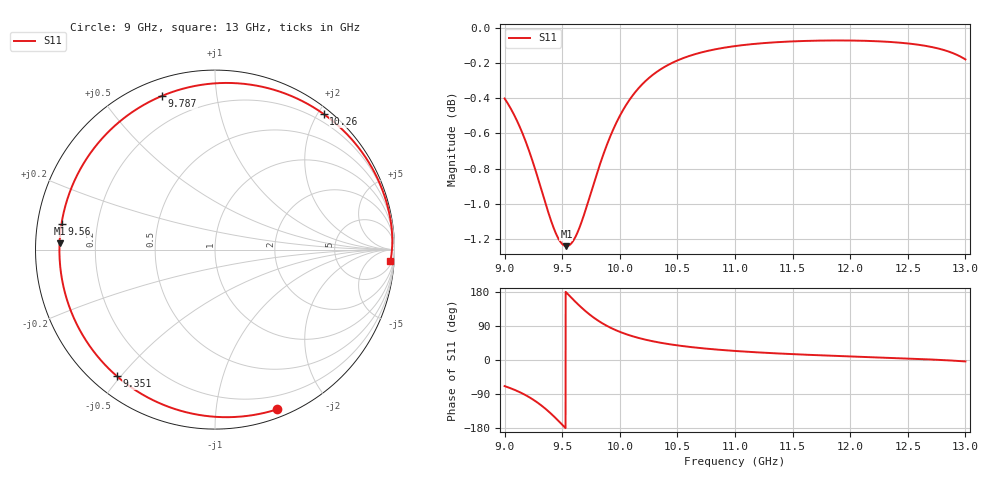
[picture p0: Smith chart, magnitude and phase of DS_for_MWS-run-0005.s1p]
! TOUCHSTONE file generated by CST DESIGN STUDIO
! Date and time: Tue Feb  4 18:10:17 2025
! Project name: C:\Work\MatlabApps\UnitCellOptimizationMatlab\CST\unitcell.cst
! Tree item: Tasks\Sweep1\SPara1\S-Parameters
! Header version: 2024
! Port assignment regex: !\s*Touchstone port\s*([0-9]+)\s*=\s*(CST MWS port|CST DES external port|CST DES block port)\s*(.+)\s* \(\"(.*)\"\)(\s*mode\s*([0-9]+))?.*
! Touchstone port assignment:
! Touchstone port 1 = CST DES external port 1 ("")
# GHz S MA R 50
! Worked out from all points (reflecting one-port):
!   4001 points, 9 GHz to 13 GHz, reference 50 ohm
!   lowest |S11| = -1.2 dB at 9.537 GHz (marker M1), VSWR 14.02, Z = 3.57 + j1.02 ohm
!   phase of S11 starts at -69 deg and turns -295 deg over the sweep
!   S11 on the Smith chart (normalised r, x): 9 GHz: 0.07, -1.46; 9.351 GHz: 0.07, -0.49; 9.56 GHz: 0.07, +0.08; 9.787 GHz: 0.07, +0.71; 10.26 GHz: 0.09, +2.08; 13 GHz: 9, -27
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9  0.9548 -68.9
9.098  0.9424 -80.3
9.206  0.9239 -96.8
9.282  0.9079 -111.6
9.351  0.8924 -127.8
9.391  0.8838 -138.3
9.433  0.876 -150.3
9.467  0.8711 -160.5
9.5  0.8681 -170.7
9.537  0.8668 177.6
9.56  0.8673 170.4
9.615  0.8721 153.5
9.677  0.8824 135.7
9.731  0.8936 121.7
9.787  0.9059 108.9
9.832  0.9154 99.9
9.881  0.925 91.2
10  0.944 74.3
10.121  0.9576 61.7
10.258  0.968 51.2
10.371  0.974 44.6
10.5  0.9788 38.6
10.721  0.9842 30.8
11  0.9881 23.9
11.5  0.9911 15.5
12  0.9917 9.4
12.5  0.9898 3.9
13  0.9795 -3.8
